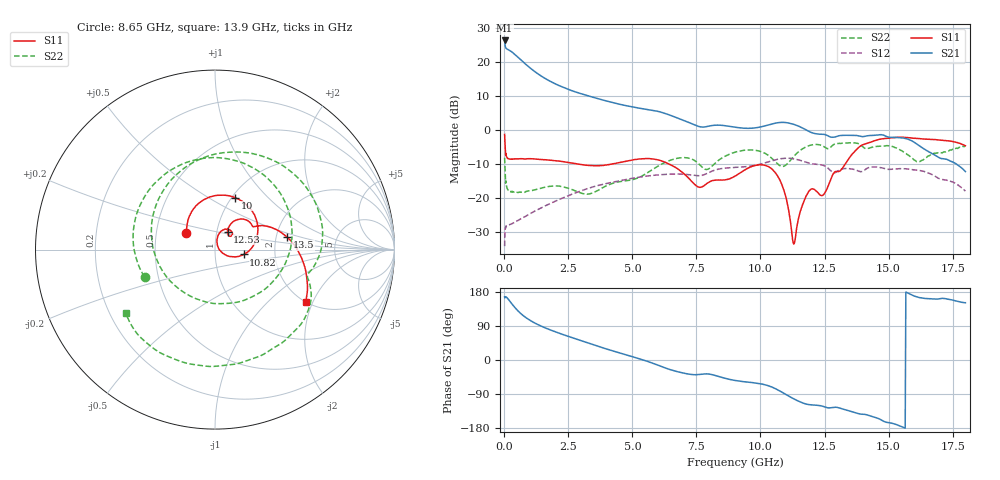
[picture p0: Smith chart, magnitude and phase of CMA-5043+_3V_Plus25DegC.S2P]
!Created: 1/2/2014 at 2:07:04 PM
!Mini-Circuits
!S2P DATA File Format
!Type: MMIC Amplifier
!Model: CMA-5043+
!S/N: Unit 1
!RUN# Q13020, D/C 1336 MOUNTED ON TB-757+
!PIN OUT: PORT 1 - PIN 2, PORT 2 - PIN 7, GROUND - ALL OTHERS
!TEST CONDITIONS: Temp= 25 (Deg C) RF Power= -25.00 (dBm) V limit=3(V) I limit=250(mA) Z=50 OHM
!Tested with Network Analyzer: !Agilent AG N5242A, S/N 71404, CAL DUE DATE: 5/31/14
# Hz  S  dB  R  50
!Frequency  S11 dB  S11 Deg  S21 dB  S21 Deg  S12 dB  S12 Deg  S22 dB  S22 Deg
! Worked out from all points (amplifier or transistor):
!   879 points, 10 MHz to 18 GHz, reference 50 ohm
!   highest |S21| = 26.3 dB at 10 MHz (marker M1)
!   |S21| within 3 dB of that: start of sweep to 217.1 MHz
!   unconditionally stable (mu >= 1): 132.6 MHz to 209.2 MHz; 622.5 MHz to 14.08 GHz; 16.09 GHz to end of sweep
!   at 740 MHz: K = 1.03, MAG = 21.8 dB, |S12| = -25.6 dB
!   at 7.025 GHz: K = 1.40, MAG = 4.1 dB, |S12| = -13.0 dB
!   at 18 GHz: K = 6.92, MAG = -8.5 dB, |S12| = -17.9 dB
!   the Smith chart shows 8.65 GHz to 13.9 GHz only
!   S11 on the Smith chart (normalised r, x): 8.65 GHz: 0.71, +0.13; 10 GHz: 1.04, +0.66; 10.82 GHz: 1.38, -0.08; 12.53 GHz: 1.13, +0.23; 13.5 GHz: 2.29, +0.39; 13.9 GHz: 2.01, -1.77
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1e7  -1.25 -21.1  26.34 166.8  -34.07 81.1  -8.10 35.0
4e7  -5.84 -37.3  24.47 165.7  -28.77 26.9  -13.34 -31.5
6.5e7  -7.29 -38.8  24.06 166.2  -28.29 14.9  -15.55 -37.3
3.2e8  -8.48 -90.1  22.81 145.9  -27.38 -13.4  -18.03 -76.2
4.95e8  -8.43 -126.9  21.69 132.2  -26.66 -26.6  -18.25 -108.3
1e9  -8.38 152.6  18.30 104.8  -24.53 -68.9  -17.79 175.0
1.75e9  -8.80 66.9  14.51 80.5  -21.68 -141.1  -16.52 85.1
3.025e9  -10.15 -68.3  10.63 50.4  -17.73 83.2  -18.54 -89.0
6.025e9  -8.79 -29.9  5.47 -14.2  -13.12 98.1  -10.46 136.9
7.125e9  -13.56 -134.1  2.50 -36.4  -13.01 -29.0  -8.12 -3.0
8.65e9  -14.55 150.6  1.28 -48.9  -11.13 164.4  -7.52 -158.9
9.025e9  -13.41 135.9  0.85 -54.2  -10.94 120.0  -6.42 157.8
1e10  -10.16 68.8  0.94 -62.7  -9.96 8.0  -6.25 46.9
1.0825e10  -15.81 -9.6  2.28 -84.4  -8.32 -97.9  -10.63 -104.1
1.13e10  -33.45 24.6  1.68 -102.6  -8.43 -164.8  -7.72 143.0
1.2025e10  -17.23 50.9  -0.80 -118.6  -9.87 100.9  -4.29 42.1
1.2525e10  -18.28 55.0  -1.32 -124.2  -10.56 35.5  -5.07 -10.0
1.35e10  -7.81 10.1  -1.52 -134.9  -11.31 -73.5  -3.74 -98.4
1.39e10  -4.69 -29.8  -1.79 -142.7  -12.18 -119.3  -4.29 -144.7
1.5025e10  -2.33 -143.9  -2.06 -165.4  -11.53 104.7  -4.58 116.6
1.6475e10  -2.66 98.5  -5.95 162.3  -12.38 -73.9  -8.06 24.9
1.8e10  -4.58 -18.2  -12.15 151.1  -17.90 102.2  -4.60 159.1
